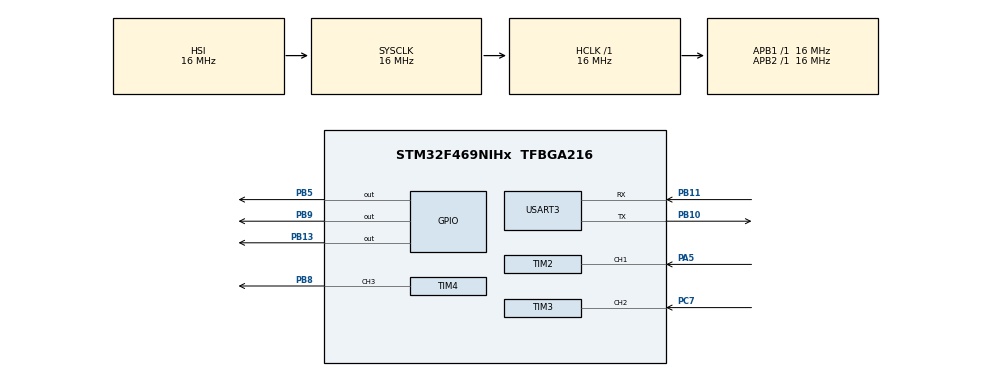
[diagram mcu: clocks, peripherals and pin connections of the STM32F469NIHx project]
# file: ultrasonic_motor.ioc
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Mcu.Family=STM32F4
Mcu.Name=STM32F469NIHx
Mcu.Package=TFBGA216
NVIC.PriorityGroup=NVIC_PRIORITYGROUP_4
NVIC.TIM1_UP_TIM10_IRQn=true\:0\:0\:false\:false\:true\:true
NVIC.TIM2_IRQn=true\:1\:0\:true\:false\:true\:true
NVIC.TIM3_IRQn=true\:1\:0\:true\:false\:true\:true
NVIC.TIM4_IRQn=true\:0\:0\:false\:false\:true\:true
NVIC.USART3_IRQn=true\:0\:0\:false\:false\:true\:true
PA5.Signal=S_TIM2_CH1_ETR
PB10.Mode=Asynchronous
PB10.Signal=USART3_TX
PB11.Mode=Asynchronous
PB11.Signal=USART3_RX
PB13.Signal=GPIO_Output
PB5.Signal=GPIO_Output
PB8.Signal=S_TIM4_CH3
PB9.Signal=GPIO_Output
PC7.Signal=S_TIM3_CH2
PH0/OSC_IN.Mode=HSE-External-Oscillator
PH0/OSC_IN.Signal=RCC_OSC_IN
PH1/OSC_OUT.Mode=HSE-External-Oscillator
PH1/OSC_OUT.Signal=RCC_OSC_OUT
ProjectManager.HeapSize=0x200
ProjectManager.StackSize=0x400
ProjectManager.TargetToolchain=TrueSTUDIO
RCC.AHBFreq_Value=16000000
RCC.APB1Freq_Value=16000000
RCC.APB1TimFreq_Value=16000000
RCC.APB2Freq_Value=16000000
RCC.APB2TimFreq_Value=16000000
RCC.CortexFreq_Value=16000000
RCC.HCLKFreq_Value=16000000
RCC.HSE_VALUE=16000000
RCC.PLLSourceVirtual=RCC_PLLSOURCE_HSE
RCC.SYSCLKFreq_VALUE=16000000
RCC.USBFreq_Value=48000000
RCC.VCOOutputFreq_Value=192000000
SH.S_TIM2_CH1_ETR.0=TIM2_CH1,Input_Capture1_from_TI1
SH.S_TIM3_CH2.0=TIM3_CH2,Input_Capture2_from_TI2
SH.S_TIM4_CH3.0=TIM4_CH3,PWM Generation3 CH3
TIM1.Period=10
TIM1.Prescaler=15
TIM2.Channel-Input_Capture1_from_TI1=TIM_CHANNEL_1
TIM2.ICPolarity_CH1=TIM_INPUTCHANNELPOLARITY_BOTHEDGE
TIM2.Period=0xffff
TIM2.Prescaler=15
TIM3.Channel-Input_Capture2_from_TI2=TIM_CHANNEL_2
TIM3.ICPolarity_CH2=TIM_INPUTCHANNELPOLARITY_BOTHEDGE
TIM3.Period=0xffff
TIM3.Prescaler=15
TIM4.Channel-PWM\ Generation3\ CH3=TIM_CHANNEL_3
TIM4.Period=100
TIM4.Prescaler=15
TIM4.Pulse-PWM\ Generation3\ CH3=500
USART3.VirtualMode=VM_ASYNC
VP_TIM1_VS_ClockSourceINT.Mode=Internal
VP_TIM3_VS_ClockSourceINT.Mode=Internal
board=ultrasonic_motor

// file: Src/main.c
/**
  ******************************************************************************
  * @file           : main.c
  * @brief          : Main program body
  ******************************************************************************
  ** This notice applies to any and all portions of this file
  * that are not between comment pairs USER CODE BEGIN and
  * USER CODE END. Other portions of this file, whether
  * inserted by the user or by software development tools
  * are owned by their respective copyright owners.
  *
  * COPYRIGHT(c) 2018 STMicroelectronics
  *
  * Redistribution and use in source and binary forms, with or without modification,
  * are permitted provided that the following conditions are met:
  *   1. Redistributions of source code must retain the above copyright notice,
  *      this list of conditions and the following disclaimer.
  *   2. Redistributions in binary form must reproduce the above copyright notice,
  *      this list of conditions and the following disclaimer in the documentation
  *      and/or other materials provided with the distribution.
  *   3. Neither the name of STMicroelectronics nor the names of its contributors
  *      may be used to endorse or promote products derived from this software
  *      without specific prior written permission.
  *
  * THIS SOFTWARE IS PROVIDED BY THE COPYRIGHT HOLDERS AND CONTRIBUTORS "AS IS"
  * AND ANY EXPRESS OR IMPLIED WARRANTIES, INCLUDING, BUT NOT LIMITED TO, THE
  * IMPLIED WARRANTIES OF MERCHANTABILITY AND FITNESS FOR A PARTICULAR PURPOSE ARE
  * DISCLAIMED. IN NO EVENT SHALL THE COPYRIGHT HOLDER OR CONTRIBUTORS BE LIABLE
  * FOR ANY DIRECT, INDIRECT, INCIDENTAL, SPECIAL, EXEMPLARY, OR CONSEQUENTIAL
  * DAMAGES (INCLUDING, BUT NOT LIMITED TO, PROCUREMENT OF SUBSTITUTE GOODS OR
  * SERVICES; LOSS OF USE, DATA, OR PROFITS; OR BUSINESS INTERRUPTION) HOWEVER
  * CAUSED AND ON ANY THEORY OF LIABILITY, WHETHER IN CONTRACT, STRICT LIABILITY,
  * OR TORT (INCLUDING NEGLIGENCE OR OTHERWISE) ARISING IN ANY WAY OUT OF THE USE
  * OF THIS SOFTWARE, EVEN IF ADVISED OF THE POSSIBILITY OF SUCH DAMAGE.
  *
  ******************************************************************************
  */
#include "main.h"
#include "stm32f4xx_hal.h"

TIM_HandleTypeDef htim1;
TIM_HandleTypeDef htim2;
TIM_HandleTypeDef htim3;
TIM_HandleTypeDef htim4;

UART_HandleTypeDef huart3;

/* USER CODE BEGIN PV */
/* Private variables ---------------------------------------------------------*/
#define LRCALI_MINVALUE 0.1
#define LRCALI_MAXVALUE 12
#define LRCALI_PWMWIDTH 70
#define LRCALI_ULPERIOD 7000 // xK = x us
/* USER CODE END PV */

void SystemClock_Config(void);
static void MX_GPIO_Init(void);
static void MX_USART3_UART_Init(void);
static void MX_TIM3_Init(void);
static void MX_TIM2_Init(void);
static void MX_TIM1_Init(void);
static void MX_TIM4_Init(void);

void HAL_TIM_MspPostInit(TIM_HandleTypeDef *htim);

/* USER CODE BEGIN PFP */
/* Private function prototypes -----------------------------------------------*/
int inta,intb,floata,floatb;
double distancea=0,distanceb=0;
int ultrasonic=0;  // 0 for Ultrasonic1 , 1 for ultrasonic2 , 2 for motor
/* USER CODE END PFP */

/* USER CODE BEGIN 0 */

void HAL_TIM_IC_CaptureCallback(TIM_HandleTypeDef* htim){
	if(htim->Instance==TIM2){
		if(HAL_GPIO_ReadPin(GPIOA,GPIO_PIN_5)==1){
			__HAL_TIM_SET_COUNTER(&htim2,0);
		}else{
			int cnt=__HAL_TIM_GET_COUNTER(&htim2);
			distancea=cnt/(double)58;
			inta=(int)distancea;
			floata=(int)((distancea-inta)*100);
			ultrasonic=1;
			HAL_TIM_Base_Start_IT(&htim1);
		}
	}
	if(htim->Instance==TIM3){
		if(HAL_GPIO_ReadPin(GPIOC,GPIO_PIN_7)==1){
			__HAL_TIM_SET_COUNTER(&htim3,0);
		}else{
			int cnt=__HAL_TIM_GET_COUNTER(&htim3);
			distanceb=cnt/(double)58;
			intb=(int)distanceb;
			floatb=(int)((distanceb-intb)*100);
			char tosend[40]={0};
			sprintf(tosend,"%d.%02d , %d.%02d\r\n",inta,floata,intb,floatb);
			HAL_UART_Transmit(&huart3,tosend,sizeof(tosend),0xffff);
			ultrasonic=2;
		}
	}
}

int tim1Count=LRCALI_ULPERIOD;
void HAL_TIM_PeriodElapsedCallback(TIM_HandleTypeDef *htim){
	if(htim->Instance==TIM1){
		if(tim1Count<LRCALI_ULPERIOD){
			tim1Count++;
		}else{
			HAL_TIM_Base_Stop_IT(&htim1);
			if(ultrasonic==0){
				if(HAL_GPIO_ReadPin(GPIOB,GPIO_PIN_5)==0){
					HAL_GPIO_WritePin(GPIOB,GPIO_PIN_5,1);
					HAL_TIM_Base_Start_IT(&htim1);
				}else{
					tim1Count=0;
					HAL_GPIO_WritePin(GPIOB,GPIO_PIN_5,0);
				}
			}else if(ultrasonic==1){
				if(HAL_GPIO_ReadPin(GPIOB,GPIO_PIN_13)==0){
					HAL_GPIO_WritePin(GPIOB,GPIO_PIN_13,1);
					HAL_TIM_Base_Start_IT(&htim1);
				}else{
					tim1Count=0;
					HAL_GPIO_WritePin(GPIOB,GPIO_PIN_13,0);
				}
			}
		}
	}
}

int pwmCount=0,pwm4Count=0;
void HAL_TIM_PWM_PulseFinishedCallback(TIM_HandleTypeDef *htim){
	if(htim->Instance==TIM4){
		if(pwm4Count++>LRCALI_PWMWIDTH){
			HAL_TIM_PWM_Stop_IT(&htim4,TIM_CHANNEL_3);
			pwm4Count=0;
		}
	}
}

int LRCalibrate(){
	if(ultrasonic==2){
		  double dl=distancea,dr=distanceb;
		  if(dl*LRCALI_MAXVALUE>dr && dr*LRCALI_MAXVALUE>dl){
			  if( (dr-dl)>LRCALI_MINVALUE ||(dl-dr)>LRCALI_MINVALUE ){
				  if(dl>dr){
					  HAL_GPIO_WritePin(GPIOB,GPIO_PIN_9,1);
					  HAL_TIM_PWM_Start_IT(&htim4,TIM_CHANNEL_3);
				  }else if(dl<dr){
					  HAL_GPIO_WritePin(GPIOB,GPIO_PIN_9,0);
					  HAL_TIM_PWM_Start_IT(&htim4,TIM_CHANNEL_3);
				  }

			  }else{
				  return 1;
			  }
		  }
		  ultrasonic=0;
		  HAL_TIM_Base_Start_IT(&htim1);
	  }
	  HAL_Delay(50);
	  return 0;
}

/* USER CODE END 0 */

int main(void)
{

  /* MCU Configuration----------------------------------------------------------*/

  /* Reset of all peripherals, Initializes the Flash interface and the Systick. */
  HAL_Init();

  /* Configure the system clock */
  SystemClock_Config();

  /* Initialize all configured peripherals */
  MX_GPIO_Init();
  MX_USART3_UART_Init();
  MX_TIM3_Init();
  MX_TIM2_Init();
  MX_TIM1_Init();
  MX_TIM4_Init();
  /* USER CODE BEGIN 2 */
  HAL_TIM_IC_Start_IT(&htim2,TIM_CHANNEL_1);
  HAL_UART_Transmit(&huart3,"Aok\r\n",5,0xffff);
  HAL_TIM_IC_Start_IT(&htim3,TIM_CHANNEL_2);
  HAL_UART_Transmit(&huart3,"Bok\r\n",5,0xffff);
  HAL_TIM_Base_Start_IT(&htim1);
  TIM4->CCR3=50;
  while(LRCalibrate()!=1);
  /* USER CODE END 2 */

  /* Infinite loop */
  while (1)
  {

  }

}

void SystemClock_Config(void)
{

  RCC_OscInitTypeDef RCC_OscInitStruct;
  RCC_ClkInitTypeDef RCC_ClkInitStruct;

    /**Configure the main internal regulator output voltage
    */
  __HAL_RCC_PWR_CLK_ENABLE();

  __HAL_PWR_VOLTAGESCALING_CONFIG(PWR_REGULATOR_VOLTAGE_SCALE3);

    /**Initializes the CPU, AHB and APB busses clocks
    */
  RCC_OscInitStruct.OscillatorType = RCC_OSCILLATORTYPE_HSI;
  RCC_OscInitStruct.HSIState = RCC_HSI_ON;
  RCC_OscInitStruct.HSICalibrationValue = 16;
  RCC_OscInitStruct.PLL.PLLState = RCC_PLL_NONE;
  if (HAL_RCC_OscConfig(&RCC_OscInitStruct) != HAL_OK)
  {
    _Error_Handler(__FILE__, __LINE__);
  }

    /**Initializes the CPU, AHB and APB busses clocks
    */
  RCC_ClkInitStruct.ClockType = RCC_CLOCKTYPE_HCLK|RCC_CLOCKTYPE_SYSCLK
                              |RCC_CLOCKTYPE_PCLK1|RCC_CLOCKTYPE_PCLK2;
  RCC_ClkInitStruct.SYSCLKSource = RCC_SYSCLKSOURCE_HSI;
  RCC_ClkInitStruct.AHBCLKDivider = RCC_SYSCLK_DIV1;
  RCC_ClkInitStruct.APB1CLKDivider = RCC_HCLK_DIV1;
  RCC_ClkInitStruct.APB2CLKDivider = RCC_HCLK_DIV1;

  if (HAL_RCC_ClockConfig(&RCC_ClkInitStruct, FLASH_LATENCY_0) != HAL_OK)
  {
    _Error_Handler(__FILE__, __LINE__);
  }

    /**Configure the Systick interrupt time
    */
  HAL_SYSTICK_Config(HAL_RCC_GetHCLKFreq()/1000);

    /**Configure the Systick
    */
  HAL_SYSTICK_CLKSourceConfig(SYSTICK_CLKSOURCE_HCLK);

  /* SysTick_IRQn interrupt configuration */
  HAL_NVIC_SetPriority(SysTick_IRQn, 0, 0);
}

/* TIM1 init function */
static void MX_TIM1_Init(void)
{

  TIM_ClockConfigTypeDef sClockSourceConfig;
  TIM_MasterConfigTypeDef sMasterConfig;

  htim1.Instance = TIM1;
  htim1.Init.Prescaler = 15;
  htim1.Init.CounterMode = TIM_COUNTERMODE_UP;
  htim1.Init.Period = 10;
  htim1.Init.ClockDivision = TIM_CLOCKDIVISION_DIV1;
  htim1.Init.RepetitionCounter = 0;
  if (HAL_TIM_Base_Init(&htim1) != HAL_OK)
  {
    _Error_Handler(__FILE__, __LINE__);
  }

  sClockSourceConfig.ClockSource = TIM_CLOCKSOURCE_INTERNAL;
  if (HAL_TIM_ConfigClockSource(&htim1, &sClockSourceConfig) != HAL_OK)
  {
    _Error_Handler(__FILE__, __LINE__);
  }

  sMasterConfig.MasterOutputTrigger = TIM_TRGO_RESET;
  sMasterConfig.MasterSlaveMode = TIM_MASTERSLAVEMODE_DISABLE;
  if (HAL_TIMEx_MasterConfigSynchronization(&htim1, &sMasterConfig) != HAL_OK)
  {
    _Error_Handler(__FILE__, __LINE__);
  }

}

/* TIM2 init function */
static void MX_TIM2_Init(void)
{

  TIM_MasterConfigTypeDef sMasterConfig;
  TIM_IC_InitTypeDef sConfigIC;

  htim2.Instance = TIM2;
  htim2.Init.Prescaler = 15;
  htim2.Init.CounterMode = TIM_COUNTERMODE_UP;
  htim2.Init.Period = 0xffff;
  htim2.Init.ClockDivision = TIM_CLOCKDIVISION_DIV1;
  if (HAL_TIM_IC_Init(&htim2) != HAL_OK)
  {
    _Error_Handler(__FILE__, __LINE__);
  }

  sMasterConfig.MasterOutputTrigger = TIM_TRGO_RESET;
  sMasterConfig.MasterSlaveMode = TIM_MASTERSLAVEMODE_DISABLE;
  if (HAL_TIMEx_MasterConfigSynchronization(&htim2, &sMasterConfig) != HAL_OK)
  {
    _Error_Handler(__FILE__, __LINE__);
  }

  sConfigIC.ICPolarity = TIM_INPUTCHANNELPOLARITY_BOTHEDGE;
  sConfigIC.ICSelection = TIM_ICSELECTION_DIRECTTI;
  sConfigIC.ICPrescaler = TIM_ICPSC_DIV1;
  sConfigIC.ICFilter = 0;
  if (HAL_TIM_IC_ConfigChannel(&htim2, &sConfigIC, TIM_CHANNEL_1) != HAL_OK)
  {
    _Error_Handler(__FILE__, __LINE__);
  }

}

/* TIM3 init function */
static void MX_TIM3_Init(void)
{

  TIM_ClockConfigTypeDef sClockSourceConfig;
  TIM_MasterConfigTypeDef sMasterConfig;
  TIM_IC_InitTypeDef sConfigIC;

  htim3.Instance = TIM3;
  htim3.Init.Prescaler = 15;
  htim3.Init.CounterMode = TIM_COUNTERMODE_UP;
  htim3.Init.Period = 0xffff;
  htim3.Init.ClockDivision = TIM_CLOCKDIVISION_DIV1;
  if (HAL_TIM_Base_Init(&htim3) != HAL_OK)
  {
    _Error_Handler(__FILE__, __LINE__);
  }

  sClockSourceConfig.ClockSource = TIM_CLOCKSOURCE_INTERNAL;
  if (HAL_TIM_ConfigClockSource(&htim3, &sClockSourceConfig) != HAL_OK)
  {
    _Error_Handler(__FILE__, __LINE__);
  }

  if (HAL_TIM_IC_Init(&htim3) != HAL_OK)
  {
    _Error_Handler(__FILE__, __LINE__);
  }

  sMasterConfig.MasterOutputTrigger = TIM_TRGO_RESET;
  sMasterConfig.MasterSlaveMode = TIM_MASTERSLAVEMODE_DISABLE;
  if (HAL_TIMEx_MasterConfigSynchronization(&htim3, &sMasterConfig) != HAL_OK)
  {
    _Error_Handler(__FILE__, __LINE__);
  }

  sConfigIC.ICPolarity = TIM_INPUTCHANNELPOLARITY_BOTHEDGE;
  sConfigIC.ICSelection = TIM_ICSELECTION_DIRECTTI;
  sConfigIC.ICPrescaler = TIM_ICPSC_DIV1;
  sConfigIC.ICFilter = 0;
  if (HAL_TIM_IC_ConfigChannel(&htim3, &sConfigIC, TIM_CHANNEL_2) != HAL_OK)
  {
    _Error_Handler(__FILE__, __LINE__);
  }

}

/* TIM4 init function */
static void MX_TIM4_Init(void)
{

  TIM_MasterConfigTypeDef sMasterConfig;
  TIM_OC_InitTypeDef sConfigOC;

  htim4.Instance = TIM4;
  htim4.Init.Prescaler = 15;
  htim4.Init.CounterMode = TIM_COUNTERMODE_UP;
  htim4.Init.Period = 100;
  htim4.Init.ClockDivision = TIM_CLOCKDIVISION_DIV1;
  if (HAL_TIM_PWM_Init(&htim4) != HAL_OK)
  {
    _Error_Handler(__FILE__, __LINE__);
  }

  sMasterConfig.MasterOutputTrigger = TIM_TRGO_RESET;
  sMasterConfig.MasterSlaveMode = TIM_MASTERSLAVEMODE_DISABLE;
  if (HAL_TIMEx_MasterConfigSynchronization(&htim4, &sMasterConfig) != HAL_OK)
  {
    _Error_Handler(__FILE__, __LINE__);
  }

  sConfigOC.OCMode = TIM_OCMODE_PWM1;
  sConfigOC.Pulse = 500;
  sConfigOC.OCPolarity = TIM_OCPOLARITY_HIGH;
  sConfigOC.OCFastMode = TIM_OCFAST_DISABLE;
  if (HAL_TIM_PWM_ConfigChannel(&htim4, &sConfigOC, TIM_CHANNEL_3) != HAL_OK)
  {
    _Error_Handler(__FILE__, __LINE__);
  }

  HAL_TIM_MspPostInit(&htim4);

}

/* USART3 init function */
static void MX_USART3_UART_Init(void)
{

  huart3.Instance = USART3;
  huart3.Init.BaudRate = 115200;
  huart3.Init.WordLength = UART_WORDLENGTH_8B;
  huart3.Init.StopBits = UART_STOPBITS_1;
  huart3.Init.Parity = UART_PARITY_NONE;
  huart3.Init.Mode = UART_MODE_TX_RX;
  huart3.Init.HwFlowCtl = UART_HWCONTROL_NONE;
  huart3.Init.OverSampling = UART_OVERSAMPLING_16;
  if (HAL_UART_Init(&huart3) != HAL_OK)
  {
    _Error_Handler(__FILE__, __LINE__);
  }

}

/** Configure pins as
        * Analog
        * Input
        * Output
        * EVENT_OUT
        * EXTI
*/
static void MX_GPIO_Init(void)
{

  GPIO_InitTypeDef GPIO_InitStruct;

  /* GPIO Ports Clock Enable */
  __HAL_RCC_GPIOB_CLK_ENABLE();
  __HAL_RCC_GPIOH_CLK_ENABLE();
  __HAL_RCC_GPIOC_CLK_ENABLE();
  __HAL_RCC_GPIOA_CLK_ENABLE();

  /*Configure GPIO pin Output Level */
  HAL_GPIO_WritePin(GPIOB, GPIO_PIN_5|GPIO_PIN_9|GPIO_PIN_13, GPIO_PIN_RESET);

  /*Configure GPIO pins : PB5 PB9 PB13 */
  GPIO_InitStruct.Pin = GPIO_PIN_5|GPIO_PIN_9|GPIO_PIN_13;
  GPIO_InitStruct.Mode = GPIO_MODE_OUTPUT_PP;
  GPIO_InitStruct.Pull = GPIO_NOPULL;
  GPIO_InitStruct.Speed = GPIO_SPEED_FREQ_LOW;
  HAL_GPIO_Init(GPIOB, &GPIO_InitStruct);

}

void _Error_Handler(char *file, int line)
{
  while(1)
  {
  }
}

/************************ (C) COPYRIGHT STMicroelectronics *****END OF FILE****/
